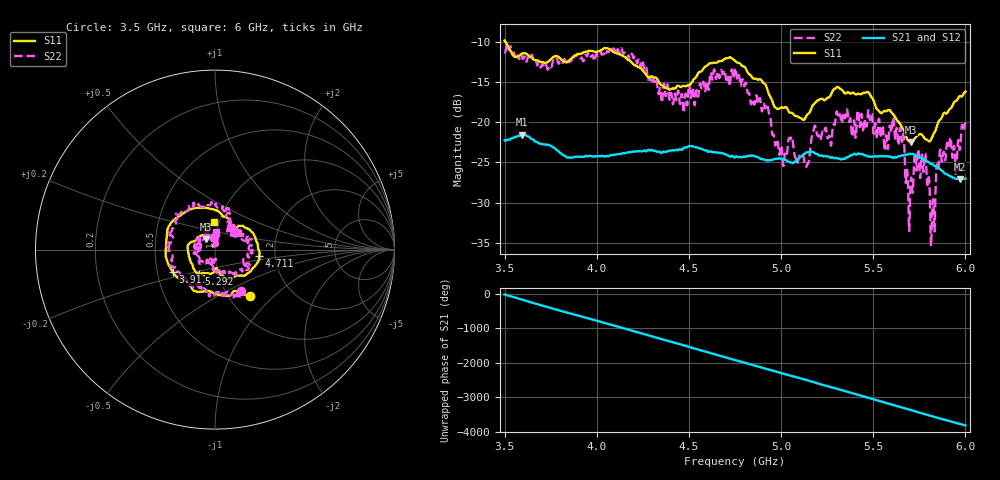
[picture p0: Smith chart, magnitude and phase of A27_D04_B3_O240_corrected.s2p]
! Created with skrf 1.9.0 (http://scikit-rf.org).
# Hz S RI R 50.0
!freq ReS11 ImS11 ReS21 ImS21 ReS12 ImS12 ReS22 ImS22
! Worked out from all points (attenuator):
!   1601 points, 3.5 GHz to 6 GHz, reference 50 ohm
!   highest |S21| = -21.55 dB at 3.595 GHz (marker M1); lowest = -27.1 dB at 5.972 GHz (marker M2)
!   lowest |S11| = -22.4 dB at 5.705 GHz (marker M3), VSWR 1.16, Z = 45.1 + j5.29 ohm
!   |S11| at or under -10 dB: 3.504 GHz to end of sweep
!   |S22| runs from -35.4 to -10.3 dB; largest |S21 - S12| = 0.00098
!   S11 on the Smith chart (normalised r, x): 3.5 GHz: 1.25, -0.72; 3.911 GHz: 0.60, -0.16; 4.711 GHz: 1.65, -0.13; 5.292 GHz: 0.81, -0.22; 6 GHz: 0.95, +0.30
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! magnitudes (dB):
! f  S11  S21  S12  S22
! 3.5 GHz  -9.9  -22.3  -22.2  -11.3
! 3.595 GHz  -11.5  -21.5  -21.5  -11.9
! 3.911 GHz  -11.5  -24.3  -24.2  -12.1
! 3.917 GHz  -11.5  -24.3  -24.3  -12.0
! 4.141 GHz  -11.8  -23.8  -23.8  -11.3
! 4.334 GHz  -14.9  -23.7  -23.6  -16.5
! 4.711 GHz  -12.0  -24.1  -24.1  -14.2
! 4.75 GHz  -12.4  -24.4  -24.3  -13.4
! 5.019 GHz  -18.2  -24.6  -24.6  -24.1
! 5.052 GHz  -18.8  -25.0  -24.9  -22.1
! 5.139 GHz  -19.2  -23.7  -23.6  -25.4
! 5.167 GHz  -18.1  -23.7  -23.6  -21.8
! 5.292 GHz  -15.8  -24.5  -24.4  -20.2
! 5.584 GHz  -18.5  -24.3  -24.2  -21.7
! 5.655 GHz  -20.6  -24.1  -24.0  -22.4
! 5.705 GHz  -22.4  -24.0  -23.9  -27.0
! 5.733 GHz  -21.8  -24.2  -24.1  -25.5
! 5.773 GHz  -21.8  -24.6  -24.5  -26.2
! 5.823 GHz  -21.6  -25.2  -25.2  -29.6
! 5.855 GHz  -19.9  -25.7  -25.6  -25.6
! 5.972 GHz  -16.7  -27.1  -27.0  -23.2
! 6 GHz  -16.2  -27.0  -26.9  -20.1
